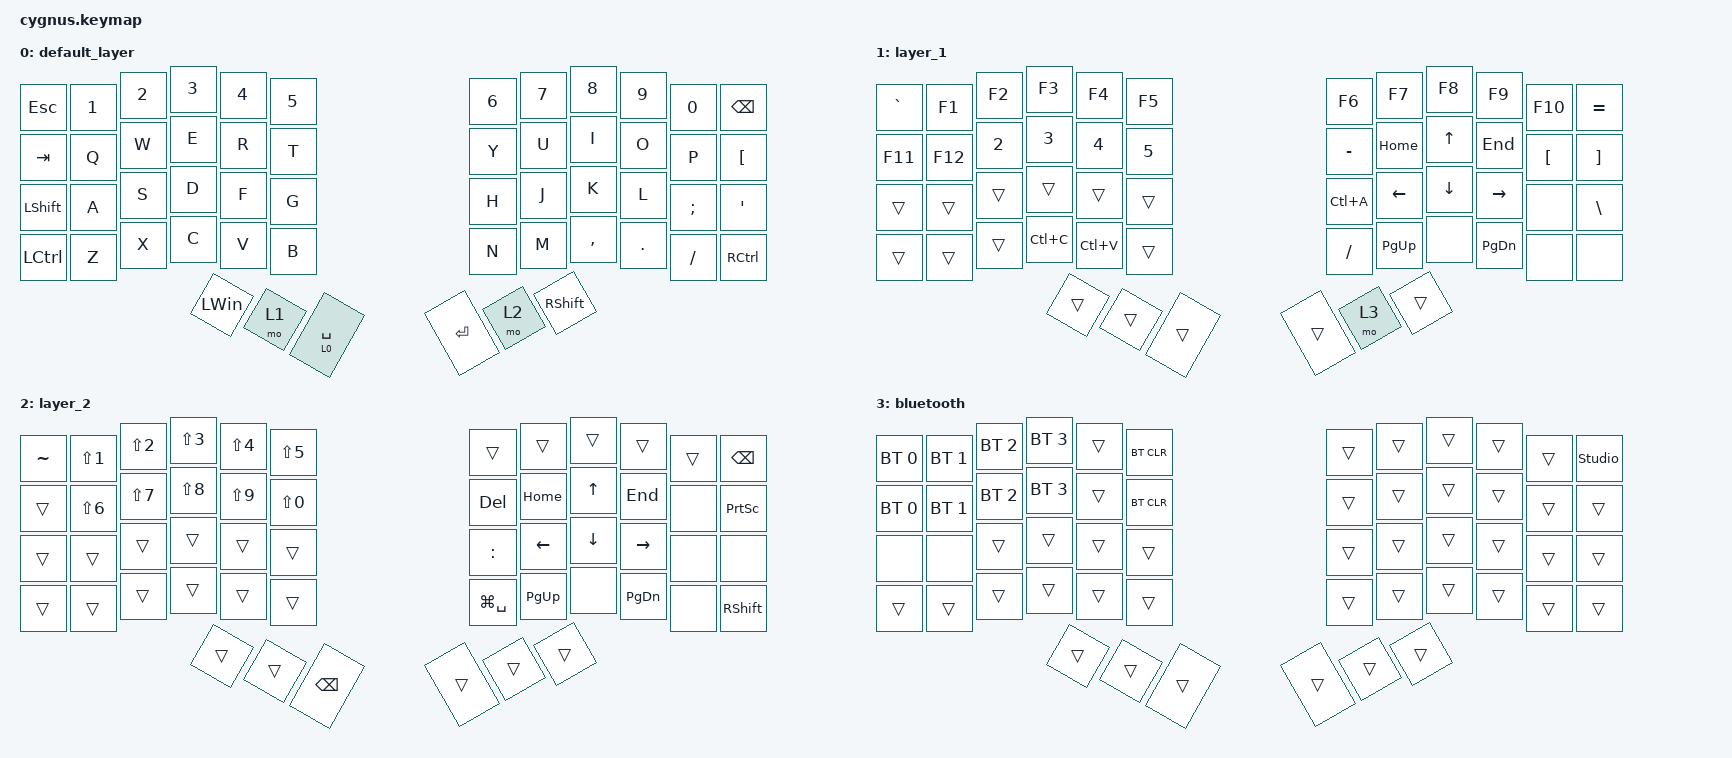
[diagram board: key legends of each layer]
#include <behaviors/rgbled_widget.dtsi>
#include <behaviors.dtsi>
#include <dt-bindings/zmk/bt.h>
#include <dt-bindings/zmk/keys.h>

/ {
    combos {
        compatible = "zmk,combos";

        bluetooth {
            bindings = <&mo 3>;
            key-positions = <41 36>;
        };

        bt2 {
            bindings = <&mo 3>;
            key-positions = <48 53>;
        };
    };

    behaviors {
        hml: hml {
            compatible = "zmk,behavior-hold-tap";
            label = "HOME_ROW_LEFT";
            bindings = <&kp>, <&kp>;

            #binding-cells = <2>;
            hold-trigger-key-positions = <6 7 8 9 10 11 18 19 20 21 22 23 30 31 32 33 34 35 42 43 44 45 46 47>;
            tapping-term-ms = <180>;
            quick-tap-ms = <175>;
            require-prior-idle-ms = <150>;
            flavor = "balanced";
            hold-trigger-on-release;
        };

        hmr: hmr {
            compatible = "zmk,behavior-hold-tap";
            label = "HOME_ROW_RIGHT";
            bindings = <&kp>, <&kp>;

            #binding-cells = <2>;
            tapping-term-ms = <180>;
            quick-tap-ms = <175>;
            require-prior-idle-ms = <150>;
            flavor = "balanced";
            hold-trigger-key-positions = <0 1 2 3 4 5 12 13 14 15 16 17 24 25 26 27 28 29 36 37 38 39 40 41>;
            hold-trigger-on-release;
        };
    };

    keymap {
        compatible = "zmk,keymap";

        default_layer {
            // -----------------------------------------------------------------------------------------
            // |  ESC |  1  |  2  |  3  |  4  |  5  |   |  6  |  7   |  8  |  9  |  0  |  ?   |
            // |  TAB |  Q  |  W  |  E  |  R  |  T  |   |  Y  |  U   |  I  |  O  |  P  | BKSP |
            // | CTRL |  A  |  S  |  D  |  F  |  G  |   |  H  |  J   |  K  |  L  |  ;  |  '   |
            // | SHFT |  Z  |  X  |  C  |  V  |  B  |   |  N  |  M   |  ,  |  .  |  /  | ESC  |
            //                    | GUI | LWR | SPC |   | ENT | RSE  | ALT |

            bindings = <
&kp ESCAPE        &kp N1  &kp N2  &kp N3        &kp N4  &kp N5         &kp N6     &kp N7  &kp N8           &kp N9   &kp N0     &kp BACKSPACE
&kp TAB           &kp Q   &kp W   &kp E         &kp R   &kp T          &kp Y      &kp U   &kp I            &kp O    &kp P      &kp LEFT_BRACKET
&kp LEFT_SHIFT    &kp A   &kp S   &kp D         &kp F   &kp G          &kp H      &kp J   &kp K            &kp L    &kp SEMI   &kp SQT
&kp LEFT_CONTROL  &kp Z   &kp X   &kp C         &kp V   &kp B          &kp N      &kp M   &kp COMMA        &kp DOT  &kp SLASH  &kp RCTRL
                                  &kp LEFT_WIN  &mo 1   &lt 0 SPACE    &kp ENTER  &mo 2   &kp RIGHT_SHIFT
            >;
        };

        layer_1 {
            // -----------------------------------------------------------------------------------------
            // |  TAB |  F1 |  F2 |  F3 |  F4 |  F5 |   |  F6 |  F7 |  F8 |  F9 | F10 | BKSP |
            // |  TAB |  1  |  2  |  3  |  4  |  5  |   |  6  |  7  |  8  |  9  |  0  | BKSP |
            // | BTCLR| BT1 | BT2 | BT3 | BT4 | BT5 |   | LFT | DWN |  UP | RGT |     |      |
            // | SHFT |     |     |     |     |     |   |     |     |     |     |     |      |
            //                    | GUI |     | SPC |   | ENT |     | ALT |

            bindings = <
&kp GRAVE  &kp F1   &kp F2        &kp F3        &kp F4        &kp F5    &kp F6     &kp F7          &kp F8          &kp F9           &kp F10           &kp EQUAL
&kp F11    &kp F12  &kp NUMBER_2  &kp NUMBER_3  &kp NUMBER_4  &kp N5    &kp MINUS  &kp HOME        &kp UP_ARROW    &kp END          &kp LEFT_BRACKET  &kp RIGHT_BRACKET
&trans     &trans   &trans        &trans        &trans        &trans    &kp LC(A)  &kp LEFT_ARROW  &kp DOWN_ARROW  &kp RIGHT_ARROW  &none             &kp BSLH
&trans     &trans   &trans        &kp LC(C)     &kp LC(V)     &trans    &kp SLASH  &kp PG_UP       &none           &kp PG_DN        &none             &none
                                  &trans        &trans        &trans    &trans     &mo 3           &trans
            >;
        };

        layer_2 {
            // -----------------------------------------------------------------------------------------
            // |  TAB |  !  |  @  |  #  |  $  |  %  |   |  ^  |  &  |  *  |  (  |  )  | BKSP |
            // | CTRL |     |     |     |     |     |   |  -  |  =  |  [  |  ]  |  \  |  `   |
            // | SHFT |     |     |     |     |     |   |  _  |  +  |  {  |  }  | "|" |  ~   |
            //                    | GUI |     | SPC |   | ENT |     | ALT |

            bindings = <
&kp TILDE  &kp LS(NUMBER_1)  &kp LS(NUMBER_2)  &kp LS(NUMBER_3)  &kp LS(NUMBER_4)  &kp LS(N5)       &trans         &trans       &trans          &trans         &trans  &kp BACKSPACE
&trans     &kp LS(NUMBER_6)  &kp LS(N7)        &kp LS(N8)        &kp LS(N9)        &kp LS(N0)       &kp DEL        &kp HOME     &kp UP_ARROW    &kp END        &none   &kp PRINTSCREEN
&trans     &trans            &trans            &trans            &trans            &trans           &kp COLON      &kp LEFT     &kp DOWN_ARROW  &kp RIGHT      &none   &none
&trans     &trans            &trans            &trans            &trans            &trans           &kp LG(SPACE)  &kp PAGE_UP  &none           &kp PAGE_DOWN  &none   &kp RIGHT_SHIFT
                                               &trans            &trans            &kp BACKSPACE    &trans         &trans       &trans
            >;
        };

        bluetooth {
            bindings = <
&bt BT_SEL 0  &bt BT_SEL 1  &bt BT_SEL 2  &bt BT_SEL 3  &trans  &bt BT_CLR    &trans  &trans  &trans  &trans  &trans  &studio_unlock
&bt BT_SEL 0  &bt BT_SEL 1  &bt BT_SEL 2  &bt BT_SEL 3  &trans  &bt BT_CLR    &trans  &trans  &trans  &trans  &trans  &trans
&none         &none         &trans        &trans        &trans  &trans        &trans  &trans  &trans  &trans  &trans  &trans
&trans        &trans        &trans        &trans        &trans  &trans        &trans  &trans  &trans  &trans  &trans  &trans
                                          &trans        &trans  &trans        &trans  &trans  &trans
            >;
        };
    };
};
